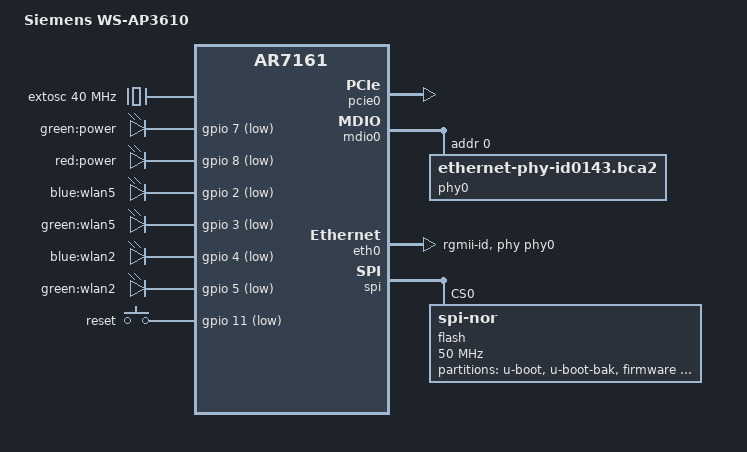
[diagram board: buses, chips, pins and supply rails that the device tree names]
// SPDX-License-Identifier: GPL-2.0-or-later OR MIT

#include "ar7100.dtsi"

#include <dt-bindings/gpio/gpio.h>
#include <dt-bindings/input/input.h>

/ {
	compatible = "siemens,ws-ap3610", "qca,ar7161";
	model = "Siemens WS-AP3610";

	aliases {
		led-boot = &led_power_green;
		led-failsafe = &led_power_red;
		led-running = &led_power_green;
		led-upgrade = &led_power_red;
		label-mac-device = &eth0;
	};

	extosc: ref {
		compatible = "fixed-clock";
		#clock-cells = <0>;
		clock-output-names = "ref";
		clock-frequency = <40000000>;
	};

	leds {
		compatible = "gpio-leds";

		led_power_green: led_power_green {
			label = "green:power";
			gpios = <&gpio 7 GPIO_ACTIVE_LOW>;
		};

		led_power_red: led_power_red {
			label = "red:power";
			gpios = <&gpio 8 GPIO_ACTIVE_LOW>;
		};

		led_wlan5_blue {
			label = "blue:wlan5";
			gpios = <&gpio 2 GPIO_ACTIVE_LOW>;
			linux,default-trigger = "phy0tpt";
		};

		led_wlan5_green {
			label = "green:wlan5";
			gpios = <&gpio 3 GPIO_ACTIVE_LOW>;
		};

		led_wlan2_blue {
			label = "blue:wlan2";
			gpios = <&gpio 4 GPIO_ACTIVE_LOW>;
			linux,default-trigger = "phy1tpt";
		};

		led_wlan2_green {
			label = "green:wlan2";
			gpios = <&gpio 5 GPIO_ACTIVE_LOW>;
		};
	};

	keys {
		compatible = "gpio-keys";

		reset {
			label = "reset";
			linux,code = <KEY_RESTART>;
			gpios = <&gpio 11 GPIO_ACTIVE_LOW>;
		};
	};
};

&pcie0 {
	status = "okay";
};

&mdio0 {
	status = "okay";

	phy0: ethernet-phy@0 {
		/*
		 * When the compatible-is missing, PHY autodetection
		 * is performed, but the PHY-ID reads all 0xff.
		 *
		 * Linux does not create the device in this case,
		 * and the reset is never even de-asserted.
		 */
		compatible = "ethernet-phy-id0143.bca2",
				"ethernet-phy-ieee802.3-c22";
		reg = <0>;

		resets = <&rst 8>;
		reset-names = "phy";
		reset-assert-us = <10000>;
		reset-deassert-us = <10000>;
	};
};

&eth0 {
	status = "okay";

	phy-mode = "rgmii-id";
	phy-handle = <&phy0>;
};

&spi {
	status = "okay";

	flash@0 {
		compatible = "jedec,spi-nor";
		reg = <0>;
		spi-max-frequency = <50000000>;

		partitions {
			compatible = "fixed-partitions";
			#address-cells = <1>;
			#size-cells = <1>;

			partition@0 {
				label = "u-boot";
				reg = <0x0 0x40000>;
				read-only;
			};

			partition@40000 {
				label = "u-boot-bak";
				reg = <0x40000 0x40000>;
				read-only;
			};

			partition@80000 {
				compatible = "denx,uimage";
				label = "firmware";
				reg = <0x80000 0xe00000>;
			};

			partition@e80000 {
				label = "cfg1";
				reg = <0xe80000 0x40000>;
				read-only;
			};

			partition@ec0000 {
				label = "cfg2";
				reg = <0xec0000 0x40000>;
				read-only;
			};

			partition@f00000 {
				label = "nvram1";
				reg = <0xf00000 0x40000>;
				read-only;
			};

			partition@f40000 {
				label = "nvram2";
				reg = <0xf40000 0x40000>;
				read-only;
			};

			partition@f80000 {
				label = "rsvd1";
				reg = <0xf80000 0x40000>;
				read-only;
			};

			partition@fc0000 {
				label = "rsvd2";
				reg = <0xfc0000 0x40000>;
				read-only;
			};
		};
	};
};
